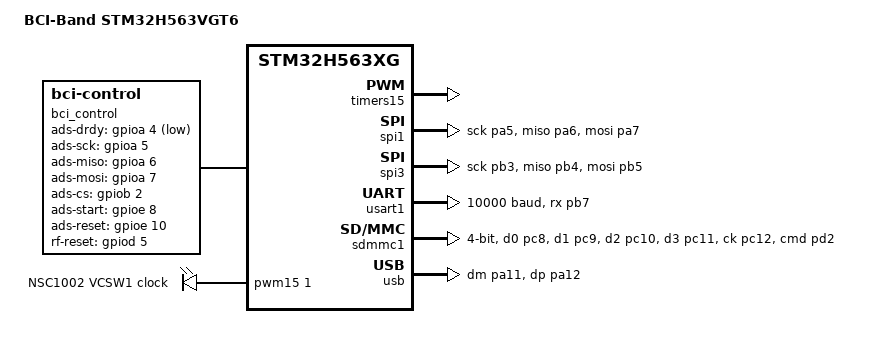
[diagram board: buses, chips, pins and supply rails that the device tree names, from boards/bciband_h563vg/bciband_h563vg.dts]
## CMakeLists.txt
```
cmake_minimum_required(VERSION 3.20.0)

find_package(Zephyr REQUIRED HINTS $ENV{ZEPHYR_BASE})
project(bciband_stm32_production)

target_sources(app PRIVATE
	src/main.c
	src/feature_logic.c
	src/status_io.c
	src/sd_recorder.c
)
target_include_directories(app PRIVATE ${CMAKE_CURRENT_SOURCE_DIR}/../protocol)
```

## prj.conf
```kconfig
CONFIG_GPIO=y
CONFIG_SPI=y
CONFIG_PWM=y

CONFIG_DISK_ACCESS=y
CONFIG_DISK_DRIVER_SDMMC=y
CONFIG_SDMMC_STM32_HWFC=y
CONFIG_SDMMC_STM32_CLOCK_CHECK=n
CONFIG_FILE_SYSTEM=y
CONFIG_FAT_FILESYSTEM_ELM=y
CONFIG_FS_FATFS_MOUNT_MKFS=n
CONFIG_FS_FATFS_NUM_FILES=2
CONFIG_FS_FATFS_NUM_DIRS=1

CONFIG_SERIAL=y
CONFIG_CONSOLE=y
CONFIG_UART_INTERRUPT_DRIVEN=y
CONFIG_UART_LINE_CTRL=y
CONFIG_USB_DEVICE_STACK=y
CONFIG_USB_DEVICE_STACK_NEXT=n
CONFIG_USB_DEVICE_INITIALIZE_AT_BOOT=n
CONFIG_USB_DEVICE_VID=0x2FE3
CONFIG_USB_DEVICE_PID=0xBC10
CONFIG_USB_DEVICE_MANUFACTURER="BCI-Band"
CONFIG_USB_DEVICE_PRODUCT="BCI-Band STM32H563 Data CDC"
CONFIG_USB_COMPOSITE_DEVICE=y
CONFIG_USB_MAX_NUM_TRANSFERS=8

# Signed A/B firmware update over the dedicated USB CDC interface.
CONFIG_BOOTLOADER_MCUBOOT=y
CONFIG_MCUBOOT_IMGTOOL_SIGN_VERSION="19.1.0"
CONFIG_FLASH=y
CONFIG_FLASH_MAP=y
CONFIG_STREAM_FLASH=y
CONFIG_IMG_MANAGER=y
CONFIG_MCUMGR=y
CONFIG_MCUMGR_GRP_IMG=y
CONFIG_MCUMGR_GRP_OS=y
CONFIG_UART_MCUMGR=y
CONFIG_MCUMGR_TRANSPORT_UART=y
CONFIG_NET_BUF=y
CONFIG_ZCBOR=y
CONFIG_BASE64=y
CONFIG_CRC=y

CONFIG_LOG=y
CONFIG_LOG_DEFAULT_LEVEL=3
CONFIG_LOG_BACKEND_RTT=y
CONFIG_LOG_BACKEND_UART=n
CONFIG_USE_SEGGER_RTT=y

CONFIG_MAIN_STACK_SIZE=4096
CONFIG_SYSTEM_WORKQUEUE_STACK_SIZE=4096
CONFIG_HEAP_MEM_POOL_SIZE=1024
CONFIG_ASSERT=y
```

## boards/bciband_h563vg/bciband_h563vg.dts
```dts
/dts-v1/;

#include <st/h5/stm32h563Xg.dtsi>
#include <st/h5/stm32h563vgtx-pinctrl.dtsi>
#include <zephyr/dt-bindings/gpio/gpio.h>
#include <zephyr/dt-bindings/pwm/pwm.h>

/ {
	model = "BCI-Band STM32H563VGT6";
	compatible = "custom,bciband-h563vg";

	#address-cells = <1>;
	#size-cells = <1>;

	chosen {
		zephyr,sram = &sram1;
		zephyr,flash = &flash0;
		zephyr,code-partition = &slot0_partition;
		zephyr,uart-mcumgr = &cdc_acm_dfu;
	};

	bci_control: bci-control {
		compatible = "zephyr,bci-control";
		ads-drdy-gpios = <&gpioa 4 (GPIO_ACTIVE_LOW | GPIO_PULL_UP)>;
		ads-sck-gpios = <&gpioa 5 GPIO_ACTIVE_HIGH>;
		ads-miso-gpios = <&gpioa 6 GPIO_ACTIVE_HIGH>;
		ads-mosi-gpios = <&gpioa 7 GPIO_ACTIVE_HIGH>;
		ads-cs-gpios = <&gpiob 2 GPIO_ACTIVE_HIGH>;
		ads-start-gpios = <&gpioe 8 GPIO_ACTIVE_HIGH>;
		ads-reset-gpios = <&gpioe 10 GPIO_ACTIVE_HIGH>;

		rf-reset-gpios = <&gpiod 5 GPIO_ACTIVE_HIGH>;
		rf-irq-gpios = <&gpiod 6 (GPIO_ACTIVE_HIGH | GPIO_PULL_DOWN)>;
		rf-csn-gpios = <&gpiob 9 GPIO_ACTIVE_HIGH>;

		work-led-gpios = <&gpioa 1 GPIO_ACTIVE_HIGH>;
		ext-trigger-gpios = <&gpiob 7 (GPIO_ACTIVE_LOW | GPIO_PULL_UP)>;
	};

	nsc_pwm_leds: pwm-leds {
		compatible = "pwm-leds";

		nsc_pwm_output: nsc-pwm-output {
			pwms = <&pwm15 1 PWM_NSEC(5000) PWM_POLARITY_NORMAL>;
			label = "NSC1002 VCSW1 clock";
		};
	};
};

&flash0 {
	partitions {
		compatible = "fixed-partitions";
		#address-cells = <1>;
		#size-cells = <1>;

		boot_partition: partition@0 {
			label = "mcuboot";
			reg = <0x00000000 DT_SIZE_K(64)>;
		};

		slot0_partition: partition@10000 {
			label = "image-0";
			reg = <0x00010000 DT_SIZE_K(448)>;
		};

		slot1_partition: partition@80000 {
			label = "image-1";
			reg = <0x00080000 DT_SIZE_K(448)>;
		};

		storage_partition: partition@f0000 {
			label = "storage";
			reg = <0x000f0000 DT_SIZE_K(64)>;
		};
	};
};

&clk_hsi {
	hsi-div = <1>;
	status = "okay";
};

&clk_hsi48 {
	status = "okay";
};

&pll {
	div-m = <4>;
	mul-n = <30>;
	div-p = <2>;
	div-q = <2>;
	div-r = <2>;
	clocks = <&clk_hsi>;
	status = "okay";
};

&rcc {
	clocks = <&pll>;
	clock-frequency = <DT_FREQ_M(240)>;
	ahb-prescaler = <1>;
	apb1-prescaler = <1>;
	apb2-prescaler = <1>;
	apb3-prescaler = <1>;
};

&timers15 {
	st,prescaler = <0>;
	status = "okay";

	pwm15: pwm {
		pinctrl-0 = <&tim15_ch1_pe5>;
		pinctrl-names = "default";
		status = "okay";
	};
};

/* Existing PCB nets PA5/PA6/PA7, selected as SPI1 in software. */
&spi1 {
	pinctrl-0 = <&spi1_sck_pa5 &spi1_miso_pa6 &spi1_mosi_pa7>;
	pinctrl-names = "default";
	status = "okay";
};

&spi3 {
	pinctrl-0 = <&spi3_sck_pb3 &spi3_miso_pb4 &spi3_mosi_pb5>;
	pinctrl-names = "default";
	status = "okay";
};

/* PB7 is the single-wire external event input: idle high, 10 kbit/s 8N1. */
&usart1 {
	pinctrl-0 = <&usart1_rx_pb7>;
	pinctrl-names = "default";
	current-speed = <10000>;
	status = "okay";
};

&sdmmc1 {
	pinctrl-0 = <&sdmmc1_d0_pc8 &sdmmc1_d1_pc9
		     &sdmmc1_d2_pc10 &sdmmc1_d3_pc11
		     &sdmmc1_ck_pc12 &sdmmc1_cmd_pd2>;
	pinctrl-names = "default";
	disk-name = "SD";
	bus-width = <4>;
	clk-div = <8>;
	status = "okay";
};

zephyr_udc0: &usb {
	pinctrl-0 = <&usb_dm_pa11 &usb_dp_pa12>;
	pinctrl-names = "default";
	status = "okay";

	cdc_acm_uart0: cdc-acm-uart0 {
		compatible = "zephyr,cdc-acm-uart";
		label = "BCI-Band Data CDC";
	};

	cdc_acm_dfu: cdc-acm-dfu {
		compatible = "zephyr,cdc-acm-uart";
		label = "BCI-Band DFU CDC";
	};
};
```

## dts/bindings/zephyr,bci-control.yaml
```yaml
description: OmniBCI STM32 board control GPIOs

compatible: "zephyr,bci-control"

include: base.yaml

properties:
  ads-drdy-gpios:
    type: phandle-array
    required: true
  ads-sck-gpios:
    type: phandle-array
    required: true
  ads-miso-gpios:
    type: phandle-array
    required: true
  ads-mosi-gpios:
    type: phandle-array
    required: true
  ads-cs-gpios:
    type: phandle-array
    required: true
  ads-start-gpios:
    type: phandle-array
    required: true
  ads-reset-gpios:
    type: phandle-array
    required: true
  rf-reset-gpios:
    type: phandle-array
    required: true
  rf-irq-gpios:
    type: phandle-array
    required: true
  rf-csn-gpios:
    type: phandle-array
    required: true
  work-led-gpios:
    type: phandle-array
    required: true
  ext-trigger-gpios:
    type: phandle-array
    required: true
```

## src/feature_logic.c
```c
#include "feature_logic.h"

bool bci_sd_probe_allowed(bool gui, bool running, bool attempted, bool failed)
{
	return !failed && (!gui || !running || !attempted);
}

uint64_t bci_unwrap_sample_us(uint64_t now_us, uint32_t sample_us)
{
	/* Queue residence is bounded well below the 71-minute wire timestamp period. */
	return now_us - (uint32_t)(now_us - sample_us);
}

#include <errno.h>
#include <stdio.h>

bool bci_trigger_accept(uint32_t now_ms, uint32_t *last_ms, bool *seen)
{
	if (last_ms == NULL || seen == NULL) {
		return false;
	}
	if (*seen && (uint32_t)(now_ms - *last_ms) < BCI_TRIGGER_DEBOUNCE_MS) {
		return false;
	}
	*seen = true;
	*last_ms = now_ms;
	return true;
}

bool bci_led_output(enum bci_led_state state, uint32_t elapsed_ms)
{
	switch (state) {
	case BCI_LED_ACQUIRING:
		return true;
	case BCI_LED_BOOT:
		return (elapsed_ms % 1000U) < 500U;
	case BCI_LED_FATAL:
		return (elapsed_ms % 200U) < 100U;
	case BCI_LED_STOPPED:
	default:
		return false;
	}
}

bool bci_acquisition_healthy(uint32_t now_ms, uint32_t last_success_ms)
{
	return (uint32_t)(now_ms - last_success_ms) <
		BCI_ACQUISITION_HEALTH_TIMEOUT_MS;
}

int bci_sd_filename(char *destination, size_t size, uint32_t index)
{
	if (destination == NULL || size < BCI_SD_FILENAME_BYTES ||
	    index == 0U || index > 99999U) {
		return -EINVAL;
	}
	int written = snprintf(destination, size, "/SD:/BCI%05u.BIN", index);
	return written == (int)(BCI_SD_FILENAME_BYTES - 1U) ? 0 : -EINVAL;
}
```

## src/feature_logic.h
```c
#ifndef BCI_FEATURE_LOGIC_H
#define BCI_FEATURE_LOGIC_H

#include <stdbool.h>
#include <stddef.h>
#include <stdint.h>

#define BCI_TRIGGER_DEBOUNCE_MS 5U
#define BCI_ACQUISITION_HEALTH_TIMEOUT_MS 100U
#define BCI_STREAM_FRAME_SIZE 48U
#define BCI_SD_BATCH_FRAMES 128U
#define BCI_SD_BATCH_BYTES (BCI_STREAM_FRAME_SIZE * BCI_SD_BATCH_FRAMES)
#define BCI_SD_FILENAME_BYTES 18U

enum bci_led_state {
	BCI_LED_STOPPED = 0,
	BCI_LED_BOOT,
	BCI_LED_ACQUIRING,
	BCI_LED_FATAL,
};

bool bci_trigger_accept(uint32_t now_ms, uint32_t *last_ms, bool *seen);
bool bci_led_output(enum bci_led_state state, uint32_t elapsed_ms);
bool bci_acquisition_healthy(uint32_t now_ms, uint32_t last_success_ms);
int bci_sd_filename(char *destination, size_t size, uint32_t index);
bool bci_sd_probe_allowed(bool gui, bool running, bool attempted, bool failed);
uint64_t bci_unwrap_sample_us(uint64_t now_us, uint32_t sample_us);

#endif
```

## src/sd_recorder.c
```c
#include "sd_recorder.h"
#include <errno.h>
#include <ff.h>
#include <stdarg.h>
#include <stdio.h>
#include <string.h>
#include <zephyr/fs/fs.h>
#include <zephyr/kernel.h>
#include <zephyr/storage/disk_access.h>
#include <zephyr/logging/log.h>
#include <zephyr/sys/byteorder.h>

LOG_MODULE_REGISTER(bci_sd_recorder, LOG_LEVEL_INF);

static FATFS fat_fs;
static struct fs_mount_t mount_point = {
	.type = FS_FATFS, .flags = FS_MOUNT_FLAG_NO_FORMAT,
	.fs_data = &fat_fs, .storage_dev = "SD", .mnt_point = "/SD:",
};
struct queued_frame {
	uint32_t generation;
	uint8_t data[BCI_STREAM_FRAME_SIZE];
};
struct queued_event {
	uint32_t generation, number, sequence;
	uint8_t code;
	uint64_t start_us;
	int64_t uptime_ms;
};
struct desired_state {
	bool running, gui;
	uint32_t generation;
	struct sd_record_config config;
};
/* 1260 * 52 = 65520 bytes; epoch tags prevent cross-file contamination. */
K_MSGQ_DEFINE(frames, sizeof(struct queued_frame), 1260, 4);
K_MSGQ_DEFINE(events, sizeof(struct queued_event), 32, 4);
K_THREAD_STACK_DEFINE(sd_stack, 4096);
static struct k_thread sd_thread_data;
static struct k_spinlock lock;
static struct desired_state desired;
static struct sd_recorder_stats stats;
static bool initialized;
static struct fs_file_t bin_file, meta_file;
static uint8_t batch[BCI_SD_BATCH_BYTES];
static size_t batch_count;
static uint64_t file_bytes;
static uint32_t first_seq, last_seq;
static uint64_t first_sample_us, last_sample_us;
static bool have_sample;
static uint32_t event_drops;
static uint32_t file_event_drops;
static uint32_t file_start_drops;

static struct desired_state snapshot(void)
{
	k_spinlock_key_t key = k_spin_lock(&lock);
	struct desired_state state = desired;
	k_spin_unlock(&lock, key);
	return state;
}

static void publish(bool mounted, bool recording, bool stopped, int err)
{
	k_spinlock_key_t key = k_spin_lock(&lock);
	stats.mounted = mounted;
	stats.recording = recording;
	stats.stopped = stopped && !desired.running;
	stats.last_error = err;
	k_spin_unlock(&lock, key);
}

static void drop(void)
{
	k_spinlock_key_t key = k_spin_lock(&lock);
	stats.frames_dropped++;
	k_spin_unlock(&lock, key);
}

static int meta_line(const char *fmt, ...)
{
	char line[640];
	va_list args;
	va_start(args, fmt);
	int length = vsnprintf(line, sizeof(line), fmt, args);
	va_end(args);
	if (length < 0 || length >= sizeof(line)) return -ENOSPC;
	ssize_t n = fs_write(&meta_file, line, length);
	return n == length ? 0 : (n < 0 ? (int)n : -EIO);
}

static int open_files(const struct desired_state *state)
{
	struct fs_dirent entry;
	char path[BCI_SD_FILENAME_BYTES], meta[BCI_SD_FILENAME_BYTES];
	for (uint32_t i = 1; i <= 99999; i++) {
		int err = bci_sd_filename(path, sizeof(path), i);
		if (err) return err;
		memcpy(meta, path, sizeof(meta));
		memcpy(meta + strlen(meta) - 3, "MET", 3);
		err = fs_stat(path, &entry);
		if (!err) continue;
		if (err != -ENOENT) return err;
		err = fs_stat(meta, &entry);
		if (!err) continue;
		if (err != -ENOENT) return err;
		fs_file_t_init(&bin_file);
		fs_file_t_init(&meta_file);
		err = fs_open(&bin_file, path, FS_O_CREATE | FS_O_WRITE);
		if (err) return err;
		err = fs_open(&meta_file, meta, FS_O_CREATE | FS_O_WRITE);
		if (err) { fs_close(&bin_file); return err; }
		file_bytes = 0;
		first_seq = last_seq = 0;
		first_sample_us = last_sample_us = 0;
		have_sample = false;
		batch_count = 0;
		k_spinlock_key_t key = k_spin_lock(&lock);
		file_start_drops = stats.frames_dropped;
		stats.close_error = 0;
		file_event_drops = event_drops;
		k_spin_unlock(&lock, key);
		const struct sd_record_config *c = &state->config;
		err = meta_line("{\"type\":\"start\",\"schema\":1,\"bin\":\"%s\",\"firmware\":\"%s\",\"uptime_ms\":%lld,\"utc\":null,\"time_source\":\"unsynchronized\",\"sample_rate\":%u,\"gains\":[%u,%u,%u,%u,%u,%u,%u,%u],\"enabled_mask\":%u,\"bias_mask\":%u,\"reference\":\"SRB1\",\"mode\":%u,\"generation\":%u}\n",
			path + 5, CONFIG_MCUBOOT_IMGTOOL_SIGN_VERSION, (long long)k_uptime_get(), c->sample_rate,
			c->gains[0], c->gains[1], c->gains[2], c->gains[3],
			c->gains[4], c->gains[5], c->gains[6], c->gains[7],
			c->enabled_mask, c->bias_mask, c->mode, state->generation);
		if (!err) err = fs_sync(&meta_file);
		if (err) { fs_close(&meta_file); fs_close(&bin_file); return err; }
		LOG_INF("SD recording file %s", path);
		return 0;
	}
	return -ENOSPC;
}

static int flush_batch(void)
{
	if (!batch_count) return 0;
	size_t bytes = batch_count * BCI_STREAM_FRAME_SIZE;
	ssize_t n = fs_write(&bin_file, batch, bytes);
	if (n != bytes) return n < 0 ? (int)n : -EIO;
	if (!have_sample) {
		first_seq = sys_get_le32(batch + 4);
		uint64_t now_us = (uint64_t)k_uptime_get() * 1000U;
		first_sample_us = bci_unwrap_sample_us(now_us, sys_get_le32(batch + 8));
	}
	last_seq = sys_get_le32(batch + (batch_count - 1) * BCI_STREAM_FRAME_SIZE + 4);
	uint64_t now_us = (uint64_t)k_uptime_get() * 1000U;
	last_sample_us = bci_unwrap_sample_us(now_us,
		sys_get_le32(batch + (batch_count - 1) * BCI_STREAM_FRAME_SIZE + 8));
	have_sample = true;
	file_bytes += bytes;
	k_spinlock_key_t key = k_spin_lock(&lock);
	stats.bytes_written += bytes;
	k_spin_unlock(&lock, key);
	batch_count = 0;
	return 0;
}

static int checkpoint(const char *type)
{
	int err = fs_sync(&bin_file);
	if (err) return err;
	k_spinlock_key_t key = k_spin_lock(&lock);
	uint32_t dropped = stats.frames_dropped - file_start_drops;
	uint32_t lost_events = event_drops - file_event_drops;
	k_spin_unlock(&lock, key);
	err = meta_line("{\"type\":\"%s\",\"uptime_ms\":%lld,\"synced_bytes\":%llu,\"has_samples\":%s,\"first_seq\":%u,\"last_seq\":%u,\"first_sample_uptime_us\":%llu,\"last_sample_uptime_us\":%llu,\"sd_drops\":%u,\"event_drops\":%u}\n",
		type, (long long)k_uptime_get(), (unsigned long long)file_bytes,
		have_sample ? "true" : "false", first_seq, last_seq,
		(unsigned long long)first_sample_us, (unsigned long long)last_sample_us,
		dropped, lost_events);
	return err ? err : fs_sync(&meta_file);
}

static int drain_events(uint32_t generation)
{
	struct queued_event e;
	while (k_msgq_peek(&events, &e) == 0) {
		if (e.generation != generation) {
			if ((int32_t)(e.generation - generation) > 0) break;
			(void)k_msgq_get(&events, &e, K_NO_WAIT);
			continue;
		}
		(void)k_msgq_get(&events, &e, K_NO_WAIT);
		int err = meta_line("{\"type\":\"trigger\",\"event\":%u,\"code\":%u,\"sequence\":%u,\"start_us\":%llu,\"uptime_ms\":%lld,\"association\":\"first_software_frame_after_event\"}\n",
			e.number, e.code, e.sequence,
			(unsigned long long)e.start_us, (long long)e.uptime_ms);
		if (err) return err;
	}
	return 0;
}

static int drain_frames(uint32_t generation)
{
	struct queued_frame f;
	while (k_msgq_peek(&frames, &f) == 0) {
		if (f.generation != generation) break;
		(void)k_msgq_get(&frames, &f, K_NO_WAIT);
		memcpy(batch + batch_count++ * BCI_STREAM_FRAME_SIZE, f.data, BCI_STREAM_FRAME_SIZE);
		if (batch_count == BCI_SD_BATCH_FRAMES) {
			int err = flush_batch();
			if (err) return err;
		}
	}
	return flush_batch();
}

static int close_files(uint32_t generation, bool clean)
{
	int err = clean ? drain_frames(generation) : -EIO;
	if (!err) err = drain_events(generation);
	if (!err) err = checkpoint("end");
	int e = fs_close(&bin_file);
	if (!err) err = e;
	e = fs_close(&meta_file);
	if (!err) err = e;
	batch_count = 0;
	k_spinlock_key_t key = k_spin_lock(&lock);
	stats.close_error = err;
	k_spin_unlock(&lock, key);
	return err;
}

static void sd_thread(void *a, void *b, void *c)
{
	ARG_UNUSED(a); ARG_UNUSED(b); ARG_UNUSED(c);
	bool mounted = false, recording = false, attempted = false, failed = false;
	bool previous_gui = false;
	uint32_t generation = UINT32_MAX;
	int last_error = 0;
	int64_t next_probe = 0, next_sync = 0;
	while (true) {
		struct desired_state state = snapshot();
		if (state.generation != generation) {
			if (recording) {
				int err = close_files(generation, true);
				if (err) { failed = true; last_error = err; }
				recording = false;
			}
			generation = state.generation;
			attempted = false;
			next_probe = 0;
			/* Explicit stop opens a new insertion window, never a radio timeout. */
			if (!state.running) failed = false;
		}
		/* GUI takeover while already running freezes the current mount state. */
		if (state.gui && !previous_gui && state.running) attempted = true;
		previous_gui = state.gui;
		int64_t now = k_uptime_get();
		if (mounted && !state.running && now >= next_probe) {
			int err = fs_unmount(&mount_point);
			if (!err) mounted = false;
			else { last_error = err; next_probe = now + 1000; }
		}
		if (!mounted && now >= next_probe &&
		    bci_sd_probe_allowed(state.gui, state.running, attempted, failed)) {
			attempted = true;
			next_probe = now + 1000;
			int err = fs_mount(&mount_point);
			if (!err) { mounted = true; last_error = 0; }
			else {
				last_error = err;
				/* Failed HAL init retains ErrorCode; no mounted files own this disk. */
				bool force = true;
				(void)disk_access_ioctl("SD", DISK_IOCTL_CTRL_DEINIT, &force);
			}
		}
		if (mounted && state.running && !recording && !failed) {
			int err = open_files(&state);
			if (!err) { recording = true; next_sync = now + 1000; }
			else { failed = true; last_error = err; }
		}
		publish(mounted, recording, !state.running && !recording, last_error);
		struct queued_frame f;
		if (k_msgq_get(&frames, &f, K_MSEC(20)) == 0) {
			if (recording && f.generation == generation) {
				memcpy(batch + batch_count++ * BCI_STREAM_FRAME_SIZE, f.data, BCI_STREAM_FRAME_SIZE);
			} else drop();
		}
		if (recording) {
			int err = drain_events(generation);
			if (!err && (batch_count == BCI_SD_BATCH_FRAMES || now >= next_sync)) err = flush_batch();
			if (!err && now >= next_sync) {
				err = checkpoint("progress");
				next_sync = now + 1000;
			}
			if (err) {
				LOG_ERR("SD disabled for this round; RF continues: %d", err);
				(void)close_files(generation, false);
				recording = false;
				failed = true;
				last_error = err;
				(void)fs_unmount(&mount_point);
				mounted = false;
				publish(false, false, !state.running, err);
			}
		}
	}
}

int sd_recorder_init(void)
{
	if (initialized) return -EALREADY;
	initialized = true;
	k_thread_create(&sd_thread_data, sd_stack, K_THREAD_STACK_SIZEOF(sd_stack),
		sd_thread, NULL, NULL, NULL, 9, 0, K_NO_WAIT);
	k_thread_name_set(&sd_thread_data, "sd_recorder");
	return 0;
}

void sd_recorder_take_control(void)
{
	k_spinlock_key_t key = k_spin_lock(&lock);
	desired.gui = true;
	k_spin_unlock(&lock, key);
}

int sd_recorder_start(const struct sd_record_config *config)
{
	if (!initialized || !config) return -EINVAL;
	k_spinlock_key_t key = k_spin_lock(&lock);
	desired.config = *config;
	desired.running = true;
	desired.generation++;
	stats.stopped = false;
	k_spin_unlock(&lock, key);
	return 0;
}

int sd_recorder_stop(void)
{
	if (!initialized) return -ENODEV;
	k_spinlock_key_t key = k_spin_lock(&lock);
	if (desired.running) { desired.running = false; desired.generation++; }
	stats.stopped = false;
	k_spin_unlock(&lock, key);
	return 0;
}

void sd_recorder_submit(const uint8_t frame[BCI_STREAM_FRAME_SIZE])
{
	struct queued_frame f;
	k_spinlock_key_t key = k_spin_lock(&lock);
	bool accept = desired.running && stats.recording;
	f.generation = desired.generation;
	k_spin_unlock(&lock, key);
	if (!accept || !frame) return;
	memcpy(f.data, frame, sizeof(f.data));
	if (k_msgq_put(&frames, &f, K_NO_WAIT)) drop();
}

void sd_recorder_event(uint32_t number, uint8_t code, uint32_t sequence,
			       uint64_t start_us, int64_t uptime_ms)
{
	struct queued_event e = {
		.number = number, .code = code, .sequence = sequence,
		.start_us = start_us, .uptime_ms = uptime_ms,
	};
	k_spinlock_key_t key = k_spin_lock(&lock);
	bool accept = desired.running && stats.recording;
	e.generation = desired.generation;
	k_spin_unlock(&lock, key);
	if (accept && k_msgq_put(&events, &e, K_NO_WAIT)) {
		key = k_spin_lock(&lock);
		event_drops++;
		k_spin_unlock(&lock, key);
	}
}

void sd_recorder_get_stats(struct sd_recorder_stats *out)
{
	if (!out) return;
	k_spinlock_key_t key = k_spin_lock(&lock);
	*out = stats;
	k_spin_unlock(&lock, key);
}
```

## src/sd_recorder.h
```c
#ifndef BCI_SD_RECORDER_H
#define BCI_SD_RECORDER_H

#include <stdbool.h>
#include <stdint.h>

#include "feature_logic.h"

struct sd_recorder_stats {
	bool stopped;
	int32_t close_error;
	bool mounted;
	bool recording;
	uint64_t bytes_written;
	uint32_t frames_dropped;
	int32_t last_error;
};

struct sd_record_config {
	uint16_t sample_rate;
	uint8_t gains[8];
	uint8_t enabled_mask;
	uint8_t bias_mask;
	uint8_t mode;
};

int sd_recorder_init(void);
int sd_recorder_start(const struct sd_record_config *config);
void sd_recorder_take_control(void);
void sd_recorder_event(uint32_t number, uint8_t code, uint32_t next_sequence,
			       uint64_t start_us, int64_t uptime_ms);
void sd_recorder_submit(const uint8_t frame[BCI_STREAM_FRAME_SIZE]);
int sd_recorder_stop(void);
void sd_recorder_get_stats(struct sd_recorder_stats *stats);

#endif
```

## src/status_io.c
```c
#include "status_io.h"

#include <errno.h>
#include <stdbool.h>
#include <stdint.h>

#include <zephyr/drivers/gpio.h>
#include <zephyr/drivers/uart.h>
#include <zephyr/kernel.h>
#include <zephyr/logging/log.h>
#include <zephyr/sys/atomic.h>

LOG_MODULE_REGISTER(bci_status_io, LOG_LEVEL_INF);

#define STATUS_THREAD_STACK_SIZE 1024U
#define STATUS_THREAD_PRIORITY 8
#define STATUS_UPDATE_MS 50U
#define TRIGGER_EVENT_DEPTH 32U
#define EVENT_UART_FRAME_US 1000U

struct trigger_event {
	uint32_t number;
	uint8_t code;
	uint64_t start_us;
};

static const struct gpio_dt_spec work_led =
	GPIO_DT_SPEC_GET(DT_NODELABEL(bci_control), work_led_gpios);
static const struct device *const event_uart =
	DEVICE_DT_GET(DT_NODELABEL(usart1));

K_MSGQ_DEFINE(trigger_events, sizeof(struct trigger_event),
	      TRIGGER_EVENT_DEPTH, 4);
K_MSGQ_DEFINE(record_events, sizeof(struct status_record_event), TRIGGER_EVENT_DEPTH, 4);
K_THREAD_STACK_DEFINE(status_stack, STATUS_THREAD_STACK_SIZE);
static struct k_thread status_thread_data;
static atomic_t led_state = ATOMIC_INIT(BCI_LED_BOOT);
static atomic_t led_state_started_ms;
static atomic_t frame_seen;
static atomic_t last_success_ms;
static atomic_t trigger_count;
static atomic_t trigger_drops;
static uint64_t event_start_time_us(uint64_t rx_time_us, uint8_t index,
					uint8_t count)
{
	/* UART RX interrupt is observed at the end of the byte. */
	uint32_t correction = ((uint32_t)(count - index)) * EVENT_UART_FRAME_US;
	return (uint64_t)rx_time_us - correction;
}

static void enqueue_event(uint8_t code, uint64_t start_us)
{
	struct trigger_event event = {
		.number = (uint32_t)atomic_inc(&trigger_count) + 1U,
		.code = code,
		.start_us = start_us,
	};
	if (k_msgq_put(&trigger_events, &event, K_NO_WAIT) != 0) {
		atomic_inc(&trigger_drops);
	}
	if (atomic_get(&led_state) == BCI_LED_ACQUIRING) {
		struct status_record_event record = {
			.number = event.number,
			.code = event.code,
			.start_us = event.start_us,
			.uptime_ms = (int64_t)(event.start_us / 1000U),
		};
		if (k_msgq_put(&record_events, &record, K_NO_WAIT)) atomic_inc(&trigger_drops);
	}
}

static void event_uart_isr(const struct device *dev, void *user_data)
{
	ARG_UNUSED(user_data);
	uint8_t data[16];

	while (uart_irq_update(dev) && uart_irq_rx_ready(dev)) {
		int count = uart_fifo_read(dev, data, sizeof(data));
		if (count <= 0) {
			break;
		}
		uint64_t rx_time_us = k_cyc_to_us_floor64(k_cycle_get_64());
		for (int i = 0; i < count; ++i) {
			enqueue_event(data[i], event_start_time_us(rx_time_us,
				(uint8_t)i, (uint8_t)count));
		}
	}
}

bool status_take_record_event(struct status_record_event *event)
{
	return k_msgq_get(&record_events, event, K_NO_WAIT) == 0;
}

void status_discard_record_events(void)
{
	k_msgq_purge(&record_events);
}

static void status_thread(void *unused1, void *unused2, void *unused3)
{
	ARG_UNUSED(unused1);
	ARG_UNUSED(unused2);
	ARG_UNUSED(unused3);

	while (true) {
		struct trigger_event event;
		while (k_msgq_get(&trigger_events, &event, K_NO_WAIT) == 0) {
			LOG_INF("EXT_TRIG event=%u code=%u start_us=%llu",
				event.number, event.code,
				(unsigned long long)event.start_us);
		}

		uint32_t now = k_uptime_get_32();
		enum bci_led_state state =
			(enum bci_led_state)atomic_get(&led_state);
		bool on;
		if (state == BCI_LED_ACQUIRING) {
			on = atomic_get(&frame_seen) != 0 &&
				bci_acquisition_healthy(
					now, (uint32_t)atomic_get(&last_success_ms));
		} else {
			on = bci_led_output(
				state,
				now - (uint32_t)atomic_get(&led_state_started_ms));
		}
		(void)gpio_pin_set_dt(&work_led, on ? 1 : 0);
		k_msleep(STATUS_UPDATE_MS);
	}
}

int status_io_init(void)
{
	if (!gpio_is_ready_dt(&work_led) || !device_is_ready(event_uart)) {
		return -ENODEV;
	}
	int err = gpio_pin_configure_dt(&work_led, GPIO_OUTPUT_INACTIVE);
	if (err != 0) {
		return err;
	}
	atomic_set(&led_state_started_ms, (atomic_val_t)k_uptime_get_32());
	k_thread_create(&status_thread_data, status_stack,
			K_THREAD_STACK_SIZEOF(status_stack), status_thread,
			NULL, NULL, NULL, STATUS_THREAD_PRIORITY, 0, K_NO_WAIT);
	k_thread_name_set(&status_thread_data, "status_io");

	err = uart_irq_callback_user_data_set(event_uart, event_uart_isr, NULL);
	if (err != 0) {
		return err;
	}
	uart_irq_rx_enable(event_uart);
	return 0;
}

void status_led_set_state(enum bci_led_state state)
{
	atomic_set(&led_state, (atomic_val_t)state);
	atomic_set(&led_state_started_ms, (atomic_val_t)k_uptime_get_32());
	if (state != BCI_LED_ACQUIRING) {
		atomic_clear(&frame_seen);
	}
}

void status_led_note_frame_success(void)
{
	atomic_set(&last_success_ms, (atomic_val_t)k_uptime_get_32());
	atomic_set(&frame_seen, 1);
}

uint32_t status_trigger_count(void)
{
	return (uint32_t)atomic_get(&trigger_count);
}

uint32_t status_trigger_drop_count(void)
{
	return (uint32_t)atomic_get(&trigger_drops);
}
```

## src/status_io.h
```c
#ifndef BCI_STATUS_IO_H
#define BCI_STATUS_IO_H

#include <stdint.h>

#include "feature_logic.h"

int status_io_init(void);
void status_led_set_state(enum bci_led_state state);
void status_led_note_frame_success(void);
uint32_t status_trigger_count(void);
uint32_t status_trigger_drop_count(void);
struct status_record_event {
	uint32_t number;
	uint8_t code;
	uint64_t start_us;
	int64_t uptime_ms;
};
bool status_take_record_event(struct status_record_event *event);
void status_discard_record_events(void);

#endif
```
